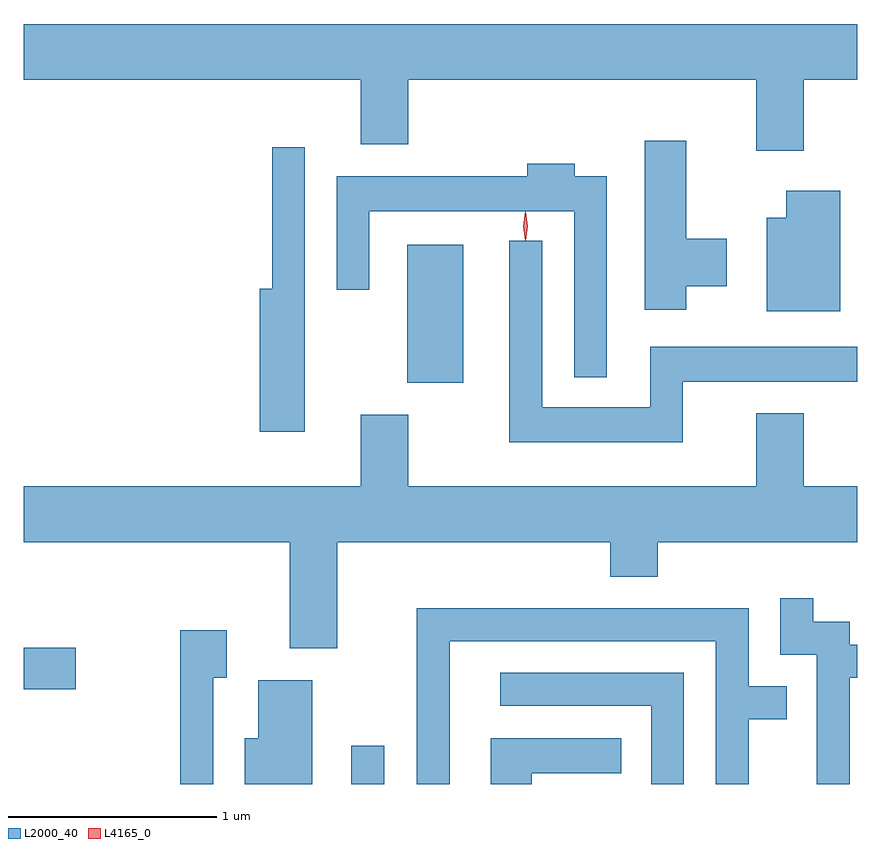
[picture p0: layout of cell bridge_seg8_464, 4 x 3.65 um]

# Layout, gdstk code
import gdstk
lib = gdstk.Library(unit=1e-6, precision=1e-09)
def R(c, l, rs):  # rectangles x0, y0, x1, y1
    for r in rs: c.add(gdstk.rectangle(r[:2], r[2:], *l))
def P(c, l, *ps):  # polygons
    for p in ps: c.add(gdstk.Polygon(p, *l))
L2000_40 = (2000, 40)
L4165_0 = (4165, 0)

bridge_seg8_464 = lib.new_cell('bridge_seg8_464')
R(bridge_seg8_464, L2000_40, [(541.336,1935.155,541.494,1935.338), (539.765,1935.611,540.014,1935.809), (541.606,1937.081,541.874,1937.744)])
P(bridge_seg8_464, L2000_40, [(543.509,1938.536),(543.765,1938.536),(543.765,1938.804),(539.765,1938.804),(539.765,1938.536),(541.381,1938.536),(541.381,1938.226),(541.609,1938.226),(541.609,1938.536),(543.281,1938.536),(543.281,1938.196),(543.509,1938.196)],
  [(542.944,1937.546),(543.139,1937.546),(543.139,1937.774),(542.944,1937.774),(542.944,1938.244),(542.746,1938.244),(542.746,1937.431),(542.944,1937.431)],
  [(541.114,1938.213),(540.956,1938.213),(540.956,1937.534),(540.896,1937.534),(540.896,1936.846),(541.114,1936.846)],
  [(542.564,1938.074),(542.409,1938.074),(542.409,1938.134),(542.181,1938.134),(542.181,1938.074),(541.266,1938.074),(541.266,1937.528),(541.424,1937.528),(541.424,1937.906),(542.406,1937.906),(542.406,1937.108),(542.564,1937.108)],
  [(543.684,1938.004),(543.426,1938.004),(543.426,1937.874),(543.331,1937.874),(543.331,1937.426),(543.684,1937.426)],
  [(542.929,1937.086),(543.765,1937.086),(543.765,1937.254),(542.771,1937.254),(542.771,1936.964),(542.254,1936.964),(542.254,1937.763),(542.096,1937.763),(542.096,1936.796),(542.929,1936.796)],
  [(541.269,1936.316),(542.581,1936.316),(542.581,1936.151),(542.809,1936.151),(542.809,1936.316),(543.765,1936.316),(543.765,1936.584),(543.509,1936.584),(543.509,1936.934),(543.281,1936.934),(543.281,1936.584),(541.609,1936.584),(541.609,1936.929),(541.381,1936.929),(541.381,1936.584),(539.765,1936.584),(539.765,1936.316),(541.041,1936.316),(541.041,1935.806),(541.269,1935.806)],
  [(543.729,1935.666),(543.765,1935.666),(543.765,1935.824),(543.729,1935.824),(543.729,1935.934),(543.554,1935.934),(543.554,1936.048),(543.396,1936.048),(543.396,1935.776),(543.571,1935.776),(543.571,1935.155),(543.729,1935.155)],
  [(541.809,1935.841),(543.086,1935.841),(543.086,1935.155),(543.244,1935.155),(543.244,1935.466),(543.428,1935.466),(543.428,1935.624),(543.244,1935.624),(543.244,1935.999),(541.651,1935.999),(541.651,1935.155),(541.809,1935.155)],
  [(540.674,1935.666),(540.739,1935.666),(540.739,1935.894),(540.516,1935.894),(540.516,1935.155),(540.674,1935.155)],
  [(542.934,1935.689),(542.053,1935.689),(542.053,1935.531),(542.776,1935.531),(542.776,1935.155),(542.934,1935.155)],
  [(541.149,1935.654),(540.891,1935.654),(540.891,1935.374),(540.826,1935.374),(540.826,1935.155),(541.149,1935.155)],
  [(542.204,1935.206),(542.633,1935.206),(542.633,1935.374),(542.006,1935.374),(542.006,1935.155),(542.204,1935.155)])
P(bridge_seg8_464, L4165_0, [(542.173,1937.763),(542.173,1937.764),(542.163,1937.833),(542.173,1937.902),(542.173,1937.903),(542.174,1937.902),(542.183,1937.833),(542.174,1937.764)],
  [(542.174,1937.767),(542.165,1937.834),(542.174,1937.9),(542.175,1937.901),(542.175,1937.9),(542.185,1937.834),(542.175,1937.767),(542.175,1937.767)])

lib.write_gds('bridge_seg8_464.gds')
